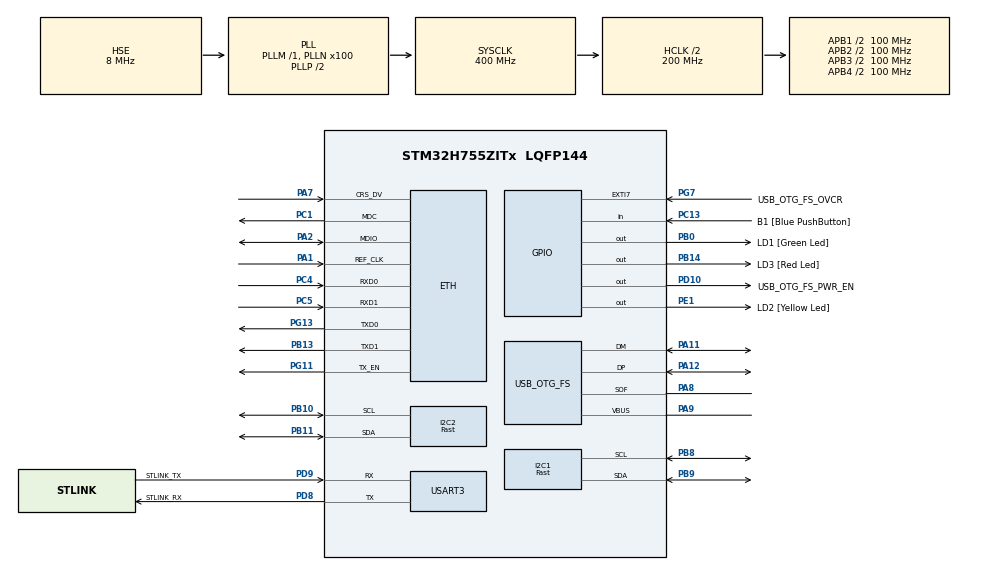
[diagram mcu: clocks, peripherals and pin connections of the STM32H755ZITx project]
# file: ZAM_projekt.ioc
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CortexM4.IPs=FATFS_M4\:I,FREERTOS_M4\:I,IWDG2\:I,RCC,WWDG2\:I,DMA,BDMA,MDMA,NVIC2\:I,ETH,USART3,DEBUG,USB_DEVICE_M4\:I,USB_HOST_M4\:I,PDM2PCM_M4\:I,PWR,RESMGR_UTILITY,SYS_M4\:I,CORTEX_M4\:I,OPENAMP_M4\:I,VREFBUF,GPIO,I2C1,TIM6,I2C2
CortexM7.IPs=FATFS_M7\:I,FREERTOS_M7\:I,IWDG1\:I,RCC\:I,WWDG1\:I,DMA\:I,BDMA\:I,MDMA\:I,NVIC1\:I,ETH\:I,USART3\:I,USB_OTG_FS\:I,SYS\:I,CORTEX_M7\:I,DEBUG\:I,USB_DEVICE_M7\:I,USB_HOST_M7\:I,PDM2PCM_M7\:I,PWR\:I,RESMGR_UTILITY\:I,OPENAMP_M7\:I,VREFBUF\:I,GPIO\:I,TIM6\:I,I2C1\:I,I2C2\:I
ETH.MediaInterface=HAL_ETH_RMII_MODE
I2C1.I2C_Fall_Time=300
I2C1.I2C_Rise_Time=300
I2C1.I2C_Speed_Mode=I2C_Fast
I2C1.Timing=0x20D81128
I2C2.I2C_Fall_Time=300
I2C2.I2C_Rise_Time=300
I2C2.I2C_Speed_Mode=I2C_Fast
I2C2.Timing=0x20D81128
Mcu.Family=STM32H7
Mcu.Name=STM32H755ZITx
Mcu.Package=LQFP144
NVIC1.PriorityGroup=NVIC_PRIORITYGROUP_4
NVIC1.TIM6_DAC_IRQn=true\:7\:0\:true\:false\:true\:true\:true\:true
NVIC2.PriorityGroup=NVIC_PRIORITYGROUP_4
PA1.Mode=RMII
PA1.PinAttribute=CortexM7
PA1.Signal=ETH_REF_CLK
PA11.Mode=Device_Only
PA11.PinAttribute=CortexM7
PA11.Signal=USB_OTG_FS_DM
PA12.Mode=Device_Only
PA12.PinAttribute=CortexM7
PA12.Signal=USB_OTG_FS_DP
PA2.Mode=RMII
PA2.PinAttribute=CortexM7
PA2.Signal=ETH_MDIO
PA7.Mode=RMII
PA7.PinAttribute=CortexM7
PA7.Signal=ETH_CRS_DV
PA8.Mode=Activate_SOF_FS
PA8.PinAttribute=CortexM7
PA8.Signal=USB_OTG_FS_SOF
PA9.Mode=Activate_VBUS
PA9.PinAttribute=CortexM7
PA9.Signal=USB_OTG_FS_VBUS
PB0.GPIO_Label=LD1 [Green Led]
PB0.PinAttribute=Free
PB0.Signal=GPIO_Output
PB10.Mode=I2C
PB10.PinAttribute=CortexM7
PB10.Signal=I2C2_SCL
PB11.Mode=I2C
PB11.PinAttribute=CortexM7
PB11.Signal=I2C2_SDA
PB13.Mode=RMII
PB13.PinAttribute=CortexM7
PB13.Signal=ETH_TXD1
PB14.GPIO_Label=LD3 [Red Led]
PB14.PinAttribute=Free
PB14.Signal=GPIO_Output
PB8.Mode=I2C
PB8.PinAttribute=CortexM7
PB8.Signal=I2C1_SCL
PB9.Mode=I2C
PB9.PinAttribute=CortexM7
PB9.Signal=I2C1_SDA
PC1.Mode=RMII
PC1.PinAttribute=CortexM7
PC1.Signal=ETH_MDC
PC13.GPIO_Label=B1 [Blue PushButton]
PC13.PinAttribute=Free
PC13.Signal=GPIO_Input
PC14-OSC32_IN\ (OSC32_IN).Mode=LSE-External-Oscillator
PC14-OSC32_IN\ (OSC32_IN).PinAttribute=CortexM7
PC14-OSC32_IN\ (OSC32_IN).Signal=RCC_OSC32_IN
PC15-OSC32_OUT\ (OSC32_OUT).Mode=LSE-External-Oscillator
PC15-OSC32_OUT\ (OSC32_OUT).PinAttribute=CortexM7
PC15-OSC32_OUT\ (OSC32_OUT).Signal=RCC_OSC32_OUT
PC4.Mode=RMII
PC4.PinAttribute=CortexM7
PC4.Signal=ETH_RXD0
PC5.Mode=RMII
PC5.PinAttribute=CortexM7
PC5.Signal=ETH_RXD1
PD10.GPIO_Label=USB_OTG_FS_PWR_EN
PD10.PinAttribute=Free
PD10.Signal=GPIO_Output
PD8.GPIO_Label=STLINK_RX
PD8.Mode=Asynchronous
PD8.PinAttribute=CortexM7
PD8.Signal=USART3_TX
PD9.GPIO_Label=STLINK_TX
PD9.Mode=Asynchronous
PD9.PinAttribute=CortexM7
PD9.Signal=USART3_RX
PE1.GPIO_Label=LD2 [Yellow Led]
PE1.PinAttribute=Free
PE1.Signal=GPIO_Output
PG11.Mode=RMII
PG11.PinAttribute=CortexM7
PG11.Signal=ETH_TX_EN
PG13.Mode=RMII
PG13.PinAttribute=CortexM7
PG13.Signal=ETH_TXD0
PG7.GPIO_Label=USB_OTG_FS_OVCR
PG7.PinAttribute=Free
PG7.Signal=GPXTI7
PH0-OSC_IN\ (PH0).Mode=HSE-External-Clock-Source
PH0-OSC_IN\ (PH0).PinAttribute=CortexM7
PH0-OSC_IN\ (PH0).Signal=RCC_OSC_IN
PH1-OSC_OUT\ (PH1).PinAttribute=CortexM7
PH1-OSC_OUT\ (PH1).Signal=RCC_OSC_OUT
ProjectManager.HeapSize=M4-0x200,M7-0x200
ProjectManager.StackSize=M4-0x400,M7-0x400
ProjectManager.TargetToolchain=STM32CubeIDE
RCC.ADCFreq_Value=16125000
RCC.APB1Freq_Value=100000000
RCC.APB2Freq_Value=100000000
RCC.APB3Freq_Value=100000000
RCC.APB4Freq_Value=100000000
RCC.CortexFreq_Value=400000000
RCC.D1PPRE=RCC_APB3_DIV2
RCC.D2PPRE1=RCC_APB1_DIV2
RCC.D2PPRE2=RCC_APB2_DIV2
RCC.D3PPRE=RCC_APB4_DIV2
RCC.DIVM1=1
RCC.DIVN1=100
RCC.DIVQ1=13
RCC.HCLKFreq_Value=200000000
RCC.HPRE=RCC_HCLK_DIV2
RCC.HSE_VALUE=8000000
RCC.SYSCLKFreq_VALUE=400000000
RCC.SYSCLKSource=RCC_SYSCLKSOURCE_PLLCLK
RCC.SupplySource=PWR_DIRECT_SMPS_SUPPLY
RCC.USBFreq_Value=61538461.538461536
TIM6.Period=99
TIM6.Prescaler=7999
USART3.VirtualMode-Asynchronous=VM_ASYNC
USB_OTG_FS.VirtualMode=Device_Only
VP_SYS_M4_VS_Systick.Mode=SysTick
VP_TIM6_VS_ClockSourceINT.Mode=Enable_Timer
board=NUCLEO-H755ZI-Q

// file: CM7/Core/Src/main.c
/* USER CODE BEGIN Header */
/**
 ******************************************************************************
 * @file           : main.c
 * @brief          : Main program body
 ******************************************************************************
 * @attention
 *
 * Copyright (c) 2025 STMicroelectronics.
 * All rights reserved.
 *
 * This software is licensed under terms that can be found in the LICENSE file
 * in the root directory of this software component.
 * If no LICENSE file comes with this software, it is provided AS-IS.
 *
 ******************************************************************************
 */
/* USER CODE END Header */
#include "main.h"
#include "eth.h"
#include "i2c.h"
#include "tim.h"
#include "usart.h"
#include "usb_otg.h"
#include "gpio.h"

/* USER CODE BEGIN Includes */
#include <stdio.h>
#include "lps22hh.h"
#include <math.h>
#include "bno055_stm32.h"
/* USER CODE END Includes */

/* USER CODE BEGIN PD */

#ifndef HSEM_ID_0
#define HSEM_ID_0 (0U) /* HW semaphore 0*/
#endif

/* USER CODE END PD */

void SystemClock_Config(void);

/* USER CODE BEGIN 0 */
int __io_putchar(int ch) {
	if (ch == '\n') {
		__io_putchar('\r');
	}
	HAL_UART_Transmit(&huart3, (uint8_t*) &ch, 1, HAL_MAX_DELAY);
	return 1;
}

#define FILTER_SIZE 10
float pressure_values[FILTER_SIZE] = { 0 };
int filter_index = 0;

float t = 0.0; //tempratura
float p = 0.0; //cisnienie poczatkowe - punktu zero
float p0 = 0.0; //cisnienie do obliczen
float h = 0.0; //wysokosc
float h_over_filter = 0.0;
float h_over_Kalman = 0.0;

float stable_altitude = 0.0f;
float changing_altitude = 0.0f;

#define NO_MOTION_THRESHOLD  1.0f

void I2C_Scanner(void) {
	printf("Scanning I2C bus...\r\n");
	for (uint16_t i = 0; i < 128; i++) {
		if (HAL_I2C_IsDeviceReady(&hi2c2, (uint16_t) (i << 1), 1, HAL_MAX_DELAY)
				== HAL_OK) {
			printf("Device found at 0x%02X\r\n", i);
		}
	}
	printf("Scan complete.\r\n");
}

/* USER CODE END 0 */

int main(void) {

	/* USER CODE BEGIN Boot_Mode_Sequence_0 */
	int32_t timeout;
	/* USER CODE END Boot_Mode_Sequence_0 */

	/* USER CODE BEGIN Boot_Mode_Sequence_1 */
	/* Wait until CPU2 boots and enters in stop mode or timeout*/
	timeout = 0xFFFF;
	while ((__HAL_RCC_GET_FLAG(RCC_FLAG_D2CKRDY) != RESET) && (timeout-- > 0))
		;
	if (timeout < 0) {
		Error_Handler();
	}
	/* USER CODE END Boot_Mode_Sequence_1 */
	/* MCU Configuration--------------------------------------------------------*/

	/* Reset of all peripherals, Initializes the Flash interface and the Systick. */
	HAL_Init();

	/* Configure the system clock */
	SystemClock_Config();
	/* USER CODE BEGIN Boot_Mode_Sequence_2 */
	/* When system initialization is finished, Cortex-M7 will release Cortex-M4 by means of
	 HSEM notification */
	/*HW semaphore Clock enable*/
	__HAL_RCC_HSEM_CLK_ENABLE();
	/*Take HSEM */
	HAL_HSEM_FastTake(HSEM_ID_0);
	/*Release HSEM in order to notify the CPU2(CM4)*/
	HAL_HSEM_Release(HSEM_ID_0, 0);
	/* wait until CPU2 wakes up from stop mode */
	timeout = 0xFFFF;
	while ((__HAL_RCC_GET_FLAG(RCC_FLAG_D2CKRDY) == RESET) && (timeout-- > 0))
		;
	if (timeout < 0) {
		Error_Handler();
	}
	/* USER CODE END Boot_Mode_Sequence_2 */

	/* Initialize all configured peripherals */
	MX_GPIO_Init();
	MX_ETH_Init();
	MX_USART3_UART_Init();
	MX_USB_OTG_FS_PCD_Init();
	MX_I2C1_Init();
	MX_TIM6_Init();
	MX_I2C2_Init();

	/* Infinite loop */
	/* USER CODE BEGIN WHILE */

	LPS22HH_Init();
	HAL_Delay(3000); // dla inicjalizacji, wazne jak korzystam z usredniania w ukladzie - by sam mogl przeliczy inicjalne probki i wpisac do fifo itp

	struct values_lps result_lps = lps_read_val();
	p0 = result_lps.pressure;

	// wypełnienie tablicy filtra frdniej kraczacej poczatkowymi danymi
	for (int i = 0; i < FILTER_SIZE; i++) {
		pressure_values[i] = p0; // Wypełnienie tablicy pierwszym pomiarem
	}
	filter_index = 0; // Reset indeksu
	KalmanFilter kf;
	// Inicjalizacja filtru Kalmana
	//pierwsza stała w tym przypadku to przybliżenie niepewności dotyczącej modelu procesu, czyli tego, jak zmienia się stan między kolejnymi iteracjami.
	//druga stała w tym przypadku to szacowanie niepewności w odczytach czujnika (np. szumu w pomiarze ciśnienia atmosferycznego).
	kalman_init(&kf, p0, 1.0f, 1.0f);// Wariancja procesu i pomiaru (dopasuj do aplikacji)

	//	//ACC init
	bno055_assignI2C(&hi2c2);
	bno055_setup();
	bno055_setOperationModeNDOF();
	HAL_Delay(1000);

	while (1) {
		// wersja podstawowa -------------------------------------------------------------------same odczyty itp-----------------------------------

//	  struct values_lps result_lps = lps_read_val();
//	  t = result_lps.temp;
//	  p = result_lps.pressure;
//	  //h = -29.271769 * t * log(p / p0);
//	  float filtered_pressure = apply_moving_average(pressure_values, &filter_index, FILTER_SIZE, p);
//
//	//	 Filtracja za pomocą Kalmana
//      float filtered_pressure_Kalman = kalman_update(&kf, p);
//
//	//	ponoc dokładniejszy sposob bazujacy na innym wzorze - lepiej reaguje na zmiany, większe wahania
//	  h = 44330.0 * (1.0 - pow(p / p0, 0.1903));
//	  h_over_filter = 44330.0 * (1.0 - pow(filtered_pressure / p0, 0.1903));
//	  h_over_Kalman = 44330.0 * (1.0 - pow(filtered_pressure_Kalman / p0, 0.1903));
//	  printf("T = %.1f*C\n", result_lps.temp);
//	  printf("p = %.1f hPa\n", result_lps.pressure);
//	  printf("h przed filtracją           = %.2f m\n", h);
//	  printf("h po filtracji (krocząca)   = %.2f m\n", h_over_filter);
//	  printf("h po filtracji (Kalman)     = %.2f m\n", h_over_Kalman);
//
//	  // Dane surowe z akcelerometru
//	      bno055_vector_t accel = bno055_getVectorAccelerometer();
//	      printf("Accel Raw - X: %.2f Y: %.2f Z: %.2f (m/s²)\r\n", accel.x, accel.y, accel.z);
//
//	      // Dane surowe z magnetometru
//	      bno055_vector_t mag = bno055_getVectorMagnetometer();
//	      printf("Magnetometer Raw - X: %.2f Y: %.2f Z: %.2f (µT)\r\n", mag.x, mag.y, mag.z);
//
//	      // Dane surowe z żyroskopu
//	      bno055_vector_t gyro = bno055_getVectorGyroscope();
//	      printf("Gyro Raw - X: %.2f Y: %.2f Z: %.2f (°/s)\r\n", gyro.x, gyro.y, gyro.z);
//
//	      // Kąty Eulera po fuzji danych
//	      bno055_vector_t euler = bno055_getVectorEuler();
//	      printf("Euler - Heading: %.2f Roll: %.2f Pitch: %.2f\r\n", euler.x, euler.y, euler.z);
//
//	      // Kwaterniony
//	      bno055_vector_t quat = bno055_getVectorQuaternion();
//	      printf("Quaternion - W: %.2f X: %.2f Y: %.2f Z: %.2f\r\n", quat.w, quat.x, quat.y, quat.z);
//
//
//		HAL_Delay(100);

		//Wersja z dodaniem warunków i semi fuzja danych -----------------------------------------------------------------------------------------------------------
		// 1) Odczyt barometru i obliczenie wysokości
		struct values_lps result_lps = lps_read_val();
		t = result_lps.temp;
		p = result_lps.pressure;

		float filtered_pressure = apply_moving_average(pressure_values,
				&filter_index, FILTER_SIZE, p);
		float filtered_pressure_Kalman = kalman_update(&kf, p);

		// liczenie
		h = 44330.0 * (1.0 - pow(p / p0, 0.1903));
		h_over_filter = 44330.0 * (1.0 - pow(filtered_pressure / p0, 0.1903));
		h_over_Kalman = 44330.0
				* (1.0 - pow(filtered_pressure_Kalman / p0, 0.1903));

		// 2) Sprawdzam przyspieszenie liniowe z BNO055
		bno055_vector_t linAccel = bno055_getVectorLinearAccel();
		//tu jest to przeliczenie - ktore pozniej jest brane pod uwage przy sprawdzenu ruchu - czuli oblicznay jest wypadkowy wektor
		float linAccelMagnitude = sqrtf(
				linAccel.x * linAccel.x + linAccel.y * linAccel.y
						+ linAccel.z * linAccel.z);

		// 3) Jeśli czujnik prawie w ogóle się nie porusza, to zamrażam wysokość:
		// treshold wyzwalania to #define NO_MOTION_THRESHOLD  0.05f - czyli 0.05 m/s²

		printf("Wypadkowy wektor: %f\n", linAccelMagnitude);

		if (linAccelMagnitude > NO_MOTION_THRESHOLD) {
			//h_over_Kalman = stable_altitude;
			changing_altitude = h_over_Kalman;
		} else {
			//stable_altitude = h_over_Kalman;
		}

		// 4)  wyniki
		printf("T = %.1f*C\n", t);
		printf("p = %.1f hPa\n", p);
		printf("h przed filtracją           = %.2f m\n", h);
		printf("h po filtracji (krocząca)   = %.2f m\n", h_over_filter);
		printf("h po filtracji (Kalman)     = %.2f m\n", h_over_Kalman);
		printf("h po zlaczeniu danych       = %.2f m\n", changing_altitude);
		// Dane z akcelerometru "raw" (dla podglądu)
		bno055_vector_t accel = bno055_getVectorAccelerometer();
		printf("Accel Raw - X: %.2f Y: %.2f Z: %.2f (m/s²)\r\n", accel.x,
				accel.y, accel.z);

		// Kąty Eulera po fuzji danych
		bno055_vector_t euler = bno055_getVectorEuler();
		printf("Euler - Heading: %.2f Roll: %.2f Pitch: %.2f\r\n", euler.x,
				euler.y, euler.z);

		// Kwaterniony
		bno055_vector_t quat = bno055_getVectorQuaternion();
		printf("Quaternion - W: %.2f X: %.2f Y: %.2f Z: %.2f\r\n", quat.w,
				quat.x, quat.y, quat.z);

		// Dane surowe z magnetometru
		bno055_vector_t mag = bno055_getVectorMagnetometer();
		printf("Magnetometer Raw - X: %.2f Y: %.2f Z: %.2f (µT)\r\n", mag.x,
				mag.y, mag.z);

		// Dane surowe z żyroskopu
		bno055_vector_t gyro = bno055_getVectorGyroscope();
		printf("Gyro Raw - X: %.2f Y: %.2f Z: %.2f (°/s)\r\n", gyro.x, gyro.y,
				gyro.z);

		//dla serial plota
//		printf("%.2f %.2f %.2f\r\n", accel.x, accel.y, accel.z);
		HAL_Delay(100);
	}

	/* USER CODE END WHILE */

}

void SystemClock_Config(void) {
	RCC_OscInitTypeDef RCC_OscInitStruct = { 0 };
	RCC_ClkInitTypeDef RCC_ClkInitStruct = { 0 };

	/** Supply configuration update enable
	 */
	HAL_PWREx_ConfigSupply(PWR_DIRECT_SMPS_SUPPLY);

	/** Configure the main internal regulator output voltage
	 */
	__HAL_PWR_VOLTAGESCALING_CONFIG(PWR_REGULATOR_VOLTAGE_SCALE1);

	while (!__HAL_PWR_GET_FLAG(PWR_FLAG_VOSRDY)) {
	}

	/** Initializes the RCC Oscillators according to the specified parameters
	 * in the RCC_OscInitTypeDef structure.
	 */
	RCC_OscInitStruct.OscillatorType = RCC_OSCILLATORTYPE_HSE;
	RCC_OscInitStruct.HSEState = RCC_HSE_BYPASS;
	RCC_OscInitStruct.PLL.PLLState = RCC_PLL_ON;
	RCC_OscInitStruct.PLL.PLLSource = RCC_PLLSOURCE_HSE;
	RCC_OscInitStruct.PLL.PLLM = 1;
	RCC_OscInitStruct.PLL.PLLN = 100;
	RCC_OscInitStruct.PLL.PLLP = 2;
	RCC_OscInitStruct.PLL.PLLQ = 13;
	RCC_OscInitStruct.PLL.PLLR = 2;
	RCC_OscInitStruct.PLL.PLLRGE = RCC_PLL1VCIRANGE_3;
	RCC_OscInitStruct.PLL.PLLVCOSEL = RCC_PLL1VCOWIDE;
	RCC_OscInitStruct.PLL.PLLFRACN = 0;
	if (HAL_RCC_OscConfig(&RCC_OscInitStruct) != HAL_OK) {
		Error_Handler();
	}

	/** Initializes the CPU, AHB and APB buses clocks
	 */
	RCC_ClkInitStruct.ClockType = RCC_CLOCKTYPE_HCLK | RCC_CLOCKTYPE_SYSCLK
			| RCC_CLOCKTYPE_PCLK1 | RCC_CLOCKTYPE_PCLK2 | RCC_CLOCKTYPE_D3PCLK1
			| RCC_CLOCKTYPE_D1PCLK1;
	RCC_ClkInitStruct.SYSCLKSource = RCC_SYSCLKSOURCE_PLLCLK;
	RCC_ClkInitStruct.SYSCLKDivider = RCC_SYSCLK_DIV1;
	RCC_ClkInitStruct.AHBCLKDivider = RCC_HCLK_DIV2;
	RCC_ClkInitStruct.APB3CLKDivider = RCC_APB3_DIV2;
	RCC_ClkInitStruct.APB1CLKDivider = RCC_APB1_DIV2;
	RCC_ClkInitStruct.APB2CLKDivider = RCC_APB2_DIV2;
	RCC_ClkInitStruct.APB4CLKDivider = RCC_APB4_DIV2;

	if (HAL_RCC_ClockConfig(&RCC_ClkInitStruct, FLASH_LATENCY_2) != HAL_OK) {
		Error_Handler();
	}
}

void Error_Handler(void) {
	__disable_irq();
	while (1) {
	}
}
